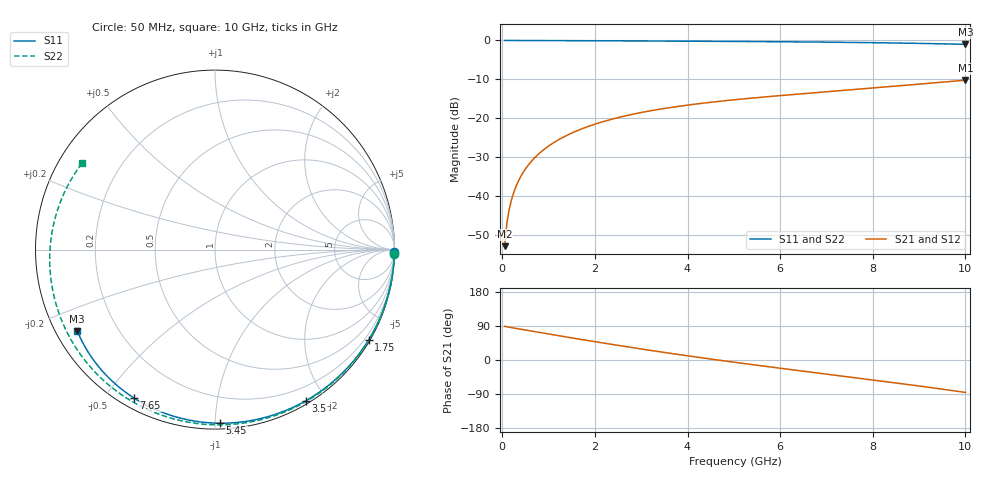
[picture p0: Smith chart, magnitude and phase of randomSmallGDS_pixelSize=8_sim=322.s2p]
! freq	dB(S11)	phase(S11)	dB(S12)	phase(S12)
!  dB(S21)	phase(S21)	dB(S22)	phase(S22)
!S-par simulation data
#  GHz  S  DB  R 50
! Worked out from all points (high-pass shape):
!   200 points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, 50 MHz to 10 GHz, reference 50 ohm
!   highest |S21| = -10.22 dB at 10 GHz (marker M1); lowest = -53.0 dB at 50 MHz (marker M2)
!   |S21| within 3 dB of the highest: 6.995 GHz to end of sweep
!   lowest |S11| = -1.0 dB at 10 GHz (marker M3), VSWR 17.39, Z = 3.09 - j13.6 ohm
!   |S11| at or under -10 dB: nowhere
!   |S22| runs from -1.1 to 0.0 dB; largest |S21 - S12| = 0
!   S11 on the Smith chart (normalised r, x): 50 MHz: open; 1.75 GHz: 0.05, -3.68; 3.5 GHz: 0.04, -1.76; 5.45 GHz: 0.03, -1.03; 7.65 GHz: 0.04, -0.59; 10 GHz: 0.06, -0.27
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0.05  -0.00 -0.9  -52.96 88.8  -52.96 88.8  -0.00 -1.3
0.1  -0.00 -1.8  -46.95 87.6  -46.95 87.6  -0.00 -2.5
0.15  -0.00 -2.7  -43.45 86.5  -43.45 86.5  -0.01 -3.7
0.2  -0.01 -3.5  -40.97 85.4  -40.97 85.4  -0.01 -5.0
0.35  -0.01 -6.2  -36.14 82.2  -36.14 82.2  -0.01 -8.7
0.5  -0.01 -8.8  -33.08 79.1  -33.08 79.1  -0.02 -12.4
0.7  -0.02 -12.3  -30.20 74.9  -30.20 74.9  -0.03 -17.3
1  -0.03 -17.5  -27.18 68.6  -27.18 68.6  -0.04 -24.7
1.35  -0.04 -23.6  -24.69 61.4  -24.69 61.4  -0.06 -33.1
1.75  -0.06 -30.4  -22.60 53.3  -22.60 53.3  -0.08 -42.6
2.6  -0.10 -44.6  -19.57 36.7  -19.57 36.7  -0.13 -62.2
3.4  -0.15 -57.5  -17.70 21.7  -17.70 21.7  -0.18 -79.7
3.5  -0.15 -59.1  -17.50 19.9  -17.50 19.9  -0.18 -81.8
4.25  -0.20 -70.7  -16.26 6.8  -16.26 6.8  -0.23 -97.5
5.05  -0.25 -82.6  -15.22 -6.6  -15.22 -6.6  -0.30 -113.5
5.45  -0.29 -88.4  -14.77 -13.0  -14.77 -13.0  -0.33 -121.3
6.1  -0.34 -97.6  -14.10 -23.3  -14.10 -23.3  -0.39 -133.8
6.7  -0.40 -105.9  -13.51 -32.5  -13.51 -32.5  -0.46 -145.2
7.65  -0.52 -118.6  -12.59 -47.1  -12.59 -47.1  -0.59 -163.5
8.35  -0.63 -127.9  -11.90 -58.0  -11.90 -58.0  -0.71 -177.4
9.2  -0.80 -139.0  -11.05 -71.8  -11.05 -71.8  -0.88 164.8
10  -1.00 -149.4  -10.22 -85.7  -10.22 -85.7  -1.08 146.8
